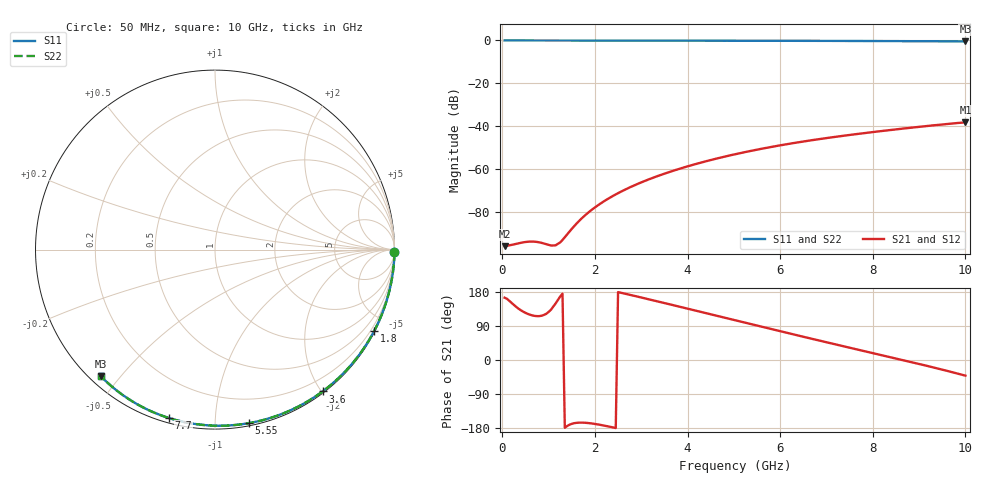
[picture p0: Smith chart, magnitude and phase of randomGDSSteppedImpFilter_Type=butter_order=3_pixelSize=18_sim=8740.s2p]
! freq	dB(S11)	phase(S11)	dB(S12)	phase(S12)
!  dB(S21)	phase(S21)	dB(S22)	phase(S22)
!S-par simulation data
#  GHz  S  DB  R 50
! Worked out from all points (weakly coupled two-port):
!   200 points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, 50 MHz to 10 GHz, reference 50 ohm
!   highest |S21| = -38.22 dB at 10 GHz (marker M1); lowest = -96.0 dB at 50 MHz (marker M2)
!   lowest |S11| = -0.4 dB at 10 GHz (marker M3), VSWR 39.13, Z = 1.53 - j22.3 ohm
!   |S11| at or under -10 dB: nowhere
!   |S22| runs from -0.4 to 0.0 dB; largest |S21 - S12| = 0
!   S11 on the Smith chart (normalised r, x): 50 MHz: open; 1.8 GHz: 0.04, -4.17; 3.6 GHz: 0.02, -2.01; 5.55 GHz: 0.02, -1.22; 7.7 GHz: 0.02, -0.76; 10 GHz: 0.03, -0.45
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0.05  -0.00 -0.8  -96.04 164.4  -96.04 164.4  -0.00 -0.8
0.9  -0.02 -13.6  -94.82 119.0  -94.82 119.0  -0.01 -13.7
1.75  -0.03 -26.3  -82.36 -165.3  -82.36 -165.3  -0.03 -26.3
1.8  -0.03 -27.0  -81.39 -165.7  -81.39 -165.7  -0.03 -27.1
1.85  -0.04 -27.7  -80.48 -166.2  -80.48 -166.2  -0.04 -27.8
1.9  -0.04 -28.5  -79.60 -166.9  -79.60 -166.9  -0.04 -28.6
2.05  -0.04 -30.7  -77.18 -169.7  -77.18 -169.7  -0.04 -30.8
2.25  -0.04 -33.6  -74.34 -174.3  -74.34 -174.3  -0.04 -33.7
2.45  -0.05 -36.5  -71.86 -179.5  -71.86 -179.5  -0.05 -36.6
2.65  -0.05 -39.4  -69.65 175.0  -69.65 175.0  -0.05 -39.5
3  -0.06 -44.4  -66.26 165.0  -66.26 165.0  -0.06 -44.5
3.4  -0.07 -50.0  -62.95 153.3  -62.95 153.3  -0.07 -50.1
3.6  -0.07 -52.8  -61.47 147.4  -61.47 147.4  -0.07 -52.9
4.3  -0.09 -62.4  -56.96 126.6  -56.96 126.6  -0.09 -62.6
5.05  -0.11 -72.4  -53.01 104.3  -53.01 104.3  -0.11 -72.6
5.55  -0.13 -78.9  -50.77 89.4  -50.77 89.4  -0.13 -79.1
6.1  -0.15 -85.9  -48.59 73.1  -48.59 73.1  -0.15 -86.1
6.7  -0.18 -93.3  -46.52 55.5  -46.52 55.5  -0.18 -93.5
7.7  -0.24 -105.4  -43.57 26.8  -43.57 26.8  -0.24 -105.6
8.35  -0.29 -113.0  -41.88 8.4  -41.88 8.4  -0.29 -113.2
9.15  -0.36 -122.2  -39.98 -14.8  -39.98 -14.8  -0.36 -122.4
10  -0.44 -132.0  -38.22 -41.3  -38.22 -41.3  -0.45 -132.0
